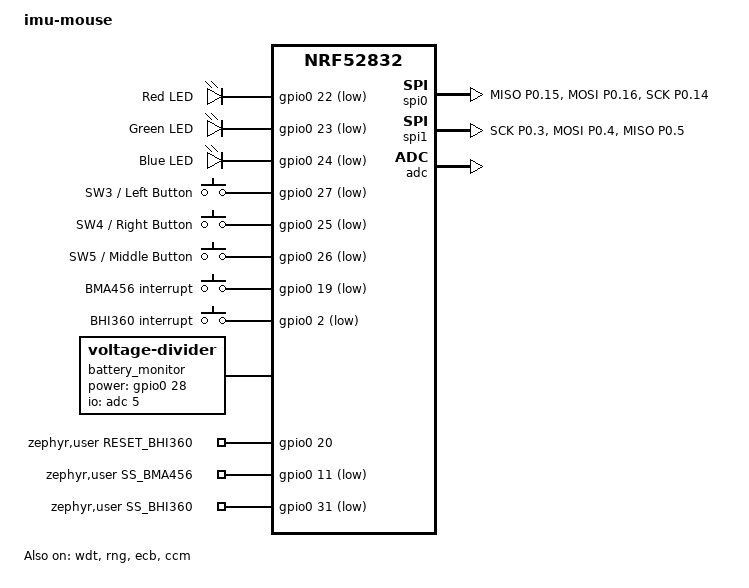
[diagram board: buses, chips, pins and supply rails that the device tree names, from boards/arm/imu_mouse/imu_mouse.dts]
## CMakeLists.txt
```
# SPDX-License-Identifier: Apache-2.0

cmake_minimum_required(VERSION 3.20.0)

find_package(Zephyr REQUIRED HINTS $ENV{ZEPHYR_BASE})
project(hello_world)

target_sources(app PRIVATE
  src/battery.c
  src/buttons.c
  src/bma456.c
  src/bma456_config.c
  src/bhi360.c
  src/bhi360_config.c
  src/mouse.c
)

target_include_directories(app PRIVATE
  $<BUILD_INTERFACE:${CMAKE_CURRENT_SOURCE_DIR}/src>
  $<BUILD_INTERFACE:${CMAKE_CURRENT_SOURCE_DIR}/src/sensor-apis>
)
```

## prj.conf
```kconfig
# Peripherals
CONFIG_GPIO=y
CONFIG_ADC=y
# CONFIG_FLASH=y
CONFIG_NRFX_SPIM0=y
CONFIG_NRFX_SPIM1=y

# BLE stuff
CONFIG_BT=y
CONFIG_BT_SMP=y
CONFIG_BT_DEBUG_LOG=y
CONFIG_BT_MAX_CONN=2
CONFIG_BT_MAX_PAIRED=2
CONFIG_BT_L2CAP_TX_BUF_COUNT=5
CONFIG_BT_PERIPHERAL=y
CONFIG_BT_DEVICE_NAME="imu-mouse"
CONFIG_BT_DEVICE_APPEARANCE=962

CONFIG_BT_BAS=y
CONFIG_BT_HIDS=y
CONFIG_BT_HIDS_MAX_CLIENT_COUNT=2
CONFIG_BT_GATT_UUID16_POOL_SIZE=40
CONFIG_BT_GATT_CHRC_POOL_SIZE=20

CONFIG_BT_CONN_CTX=y

CONFIG_BT_DIS=y
CONFIG_BT_DIS_PNP=y
CONFIG_BT_DIS_MANUF="NordicSemiconductor"
CONFIG_BT_DIS_PNP_VID_SRC=2
CONFIG_BT_DIS_PNP_VID=0x1915
CONFIG_BT_DIS_PNP_PID=0xEEEE
CONFIG_BT_DIS_PNP_VER=0x0100

CONFIG_BT_KEYS_OVERWRITE_OLDEST=y
CONFIG_BT_SMP_ALLOW_UNAUTH_OVERWRITE=y

CONFIG_BT_HIDS_SECURITY_ENABLED=n
#CONFIG_BT_DIRECTED_ADVERTISING=y

# Debug options
CONFIG_DEBUG_OPTIMIZATIONS=y
CONFIG_USE_SEGGER_RTT=y
CONFIG_CONSOLE=y
CONFIG_RTT_CONSOLE=y
CONFIG_REQUIRES_FLOAT_PRINTF=y
CONFIG_ASSERT=y
CONFIG_RESET_ON_FATAL_ERROR=n
CONFIG_CORTEX_M_DEBUG_MONITOR_HOOK=y
CONFIG_SEGGER_DEBUGMON=y
CONFIG_THREAD_ANALYZER=y

# This helps to be able to see all logs produced in init functions
# if immediate mode is not used
CONFIG_LOG_BUFFER_SIZE=4096

CONFIG_DEBUG_THREAD_INFO=y
CONFIG_LOG_MODE_IMMEDIATE=y
# Persistent settings (BLE bonds, etc.)
# CONFIG_MPU_ALLOW_FLASH_WRITE=y
# CONFIG_NVS=y
# CONFIG_SETTINGS=y
# CONFIG_SETTINGS_NVS=y
# CONFIG_SETTINGS_RUNTIME=n
# CONFIG_BT_SETTINGS=y
# CONFIG_FLASH_PAGE_LAYOUT=y
# CONFIG_FLASH_MAP=y
```

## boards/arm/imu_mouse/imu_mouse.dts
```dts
// Copyright (c) 2024 Nordic Semiconductor ASA
// SPDX-License-Identifier: Apache-2.0

/dts-v1/;
#include <nordic/nrf52832_ciaa.dtsi>

#include <zephyr/dt-bindings/input/input-event-codes.h>

// ANNA-B112 module, GPIO pin numbers on p.19-20 of datasheet

/ {
	model = "imu-mouse";
	compatible = "lassiheikkila,imu-mouse";

	chosen {
		zephyr,sram = &sram0;
		zephyr,flash = &flash0;
		zephyr,code-partition = &slot0_partition;
	};

	leds {
		compatible = "gpio-leds";

		// RED, GPIO36 i.e. p0.22
		led_r: led_r {
			gpios = <&gpio0 22 GPIO_ACTIVE_LOW>;
			label = "Red LED";
		};

		// GREEN, GPIO37 i.e. p0.23
		led_g: led_g {
			gpios = <&gpio0 23 GPIO_ACTIVE_LOW>;
			label = "Green LED";
		};

		// BLUE, GPIO38 i.e. p0.24
		led_b: led_b {
			gpios = <&gpio0 24 GPIO_ACTIVE_LOW>;
			label = "Blue LED";
		};
	};

	buttons {
		compatible = "gpio-keys";

		// SW3, GPIO29 i.e. p0.27
		button1: button1 {
			gpios = <&gpio0 27 GPIO_ACTIVE_LOW>;
			zephyr,code = <INPUT_BTN_0>;
			label = "SW3 / Left Button";
		};

		// SW4, GPIO30 i.e. p0.25
		button2: button2 {
			gpios = <&gpio0 25 GPIO_ACTIVE_LOW>;
			zephyr,code = <INPUT_BTN_1>;
			label = "SW4 / Right Button";
		};

		// SW5, GPIO31 i.e. p0.26
		button3: button3 {
			gpios = <&gpio0 26 GPIO_ACTIVE_LOW>;
			zephyr,code = <INPUT_BTN_2>;
			label = "SW5 / Middle Button";
		};

		int_bma456: int_bma456 {
			gpios = <&gpio0 19 GPIO_ACTIVE_LOW>;
			label = "BMA456 interrupt";
		};

		int_bhi360: int_bhi360 {
			gpios = <&gpio0 2 GPIO_ACTIVE_LOW>;
			label = "BHI360 interrupt";
		};
	};


	battery_monitor: vbatt {
		compatible = "voltage-divider";
		io-channels = <&adc 5>;
		output-ohms = <220000>; // 220k
		full-ohms = <1720000>; // 1.5M + 220k = 1.72M
		power-gpios = <&gpio0 28 0>;
	};

	zephyr,user {
		// INT_BMA456-gpios = <&gpio0 19 GPIO_ACTIVE_LOW>;
		// INT_BHI360-gpios = <&gpio0 2 0>;
		RESET_BHI360-gpios = <&gpio0 20 0>;
		SS_BMA456-gpios = <&gpio0 11 GPIO_ACTIVE_LOW>;
		SS_BHI360-gpios = <&gpio0 31 GPIO_ACTIVE_LOW>;
	};

	aliases {
		ledr = &led_r;
		ledg = &led_g;
		ledb = &led_b;
		button1 = &button1;
		button2 = &button2;
		button3 = &button3;
		sw3 = &button1;
		sw4 = &button2;
		sw5 = &button3;
		intbma456 = &int_bma456;
		intbhi360 = &int_bhi360;
	};
};

&gpiote {
	status = "okay";
};

&gpio0 {
	status = "okay";
};

&pinctrl {


	spi0_default: spi0_default {
		group1 {
			psels = <NRF_PSEL(SPIM_MISO, 0, 15)>,
				<NRF_PSEL(SPIM_MOSI, 0, 16)>,
				<NRF_PSEL(SPIM_SCK, 0, 14)>;
		};
	};

	spi1_default: spi1_default {
		group1 {
			psels = <NRF_PSEL(SPIM_SCK, 0, 3)>,
				<NRF_PSEL(SPIM_MOSI, 0, 4)>,
				<NRF_PSEL(SPIM_MISO, 0, 5)>;
		};
	};
};

&flash0 {
	status = "okay";
	partitions {
		compatible = "fixed-partitions";
		#address-cells = <1>;
		#size-cells = <1>;

		boot_partition: partition@0 {
			label = "mcuboot";
			reg = <0x0 0xc000>;
		};
		slot0_partition: partition@c000 {
			label = "image-0";
			reg = <0xc000 0x12000>;
		};
		slot1_partition: partition@1e000 {
			label = "image-1";
			reg = <0x1e000 0x12000>;
		};
		scratch_partition: partition@30000 {
			label = "image-scratch";
			reg = <0x30000 0xa000>;
		};
		storage_partition: partition@3a000 {
			label = "storage";
			reg = <0x3a000 0x6000>;
		};
	};
};

spi0: &spi0 {
	status = "okay";
	pinctrl-0 = <&spi0_default>;
	pinctrl-names = "default";
	compatible = "nordic,nrf-spim";
	max-frequency = <DT_FREQ_M(8)>;
};

spi1: &spi1 {
	status = "okay";
	pinctrl-0 = <&spi1_default>;
	pinctrl-names = "default";
	compatible = "nordic,nrf-spim";
};

&adc {
	status = "okay";
};

&wdt {
	status = "okay";
};

&rng {
	status = "okay";
};

&ecb {
	status = "okay";
};

&ccm {
	status = "okay";
};

&bprot {
	status = "disabled";
};

&nfct {
	status = "disabled";
};
```

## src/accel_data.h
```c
#ifndef APPLICATION_ACCEL_DATA_H_
#define APPLICATION_ACCEL_DATA_H_

struct accel_data
{
    float x;
    float y;
    float z;
    uint32_t ts;
};

#endif // APPLICATION_ACCEL_DATA_H_
```

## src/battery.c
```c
/*
 * Copyright (c) 2018-2019 Peter Bigot Consulting, LLC
 * Copyright (c) 2019-2020 Nordic Semiconductor ASA
 *
 * SPDX-License-Identifier: Apache-2.0
 */

// Extended by Lassi Heikkilä

#include <math.h>
#include <stdio.h>
#include <stdlib.h>

#include <zephyr/drivers/adc.h>
#include <zephyr/drivers/gpio.h>
#include <zephyr/init.h>
#include <zephyr/kernel.h>
#include <zephyr/logging/log.h>

#include <nrf52.h>
#include <nrf52_bitfields.h>

#include "battery.h"

LOG_MODULE_REGISTER(battery);

#define VBATT DT_PATH(vbatt)
#define ZEPHYR_USER DT_PATH(zephyr_user)

#define BATTERY_ADC_GAIN ADC_GAIN_1_6

struct io_channel_config
{
    uint8_t channel;
};

struct divider_config
{
    struct io_channel_config io_channel;
    struct gpio_dt_spec power_gpios;
    /* output_ohm is used as a flag value: if it is nonzero then
     * the battery is measured through a voltage divider;
     * otherwise it is assumed to be directly connected to Vdd.
     */
    uint32_t output_ohm;
    uint32_t full_ohm;
};

static const struct divider_config divider_config = {
#if DT_NODE_HAS_STATUS(VBATT, okay)
    .io_channel =
        {
            DT_IO_CHANNELS_INPUT(VBATT),
        },
    .power_gpios = GPIO_DT_SPEC_GET_OR(VBATT, power_gpios, {}),
    .output_ohm = DT_PROP(VBATT, output_ohms),
    .full_ohm = DT_PROP(VBATT, full_ohms),
#else  /* /vbatt exists */
    .io_channel =
        {
            DT_IO_CHANNELS_INPUT(ZEPHYR_USER),
        },
#endif /* /vbatt exists */
};

struct divider_data
{
    const struct device *adc;
    struct adc_channel_cfg adc_cfg;
    struct adc_sequence adc_seq;
    int16_t raw;
};
static struct divider_data divider_data = {
#if DT_NODE_HAS_STATUS(VBATT, okay)
    .adc = DEVICE_DT_GET(DT_IO_CHANNELS_CTLR(VBATT)),
#else
    .adc = DEVICE_DT_GET(DT_IO_CHANNELS_CTLR(ZEPHYR_USER)),
#endif
};

/** A discharge curve specific to the power source. */
static const struct battery_level_point levels[] = {
    /* "Curve" here eyeballed from captured data for the [Adafruit
     * 3.7v 2000 mAh](https://www.adafruit.com/product/2011) LIPO
     * under full load that started with a charge of 3.96 V and
     * dropped about linearly to 3.58 V over 15 hours.  It then
     * dropped rapidly to 3.10 V over one hour, at which point it
     * stopped transmitting.
     *
     * Based on eyeball comparisons we'll say that 15/16 of life
     * goes between 3.95 and 3.55 V, and 1/16 goes between 3.55 V
     * and 3.1 V.
     */

    {10000, 3950},
    {625, 3550},
    {0, 3100},
};

static uint8_t battery_level = 0;

static int divider_setup(void) {
    const struct divider_config *cfg = &divider_config;
    const struct io_channel_config *iocp = &cfg->io_channel;
    const struct gpio_dt_spec *gcp = &cfg->power_gpios;
    struct divider_data *ddp = &divider_data;
    struct adc_sequence *asp = &ddp->adc_seq;
    struct adc_channel_cfg *accp = &ddp->adc_cfg;
    int rc;

    if (!device_is_ready(ddp->adc)) {
        return -ENOENT;
    }

    if (gcp->port) {
        if (!device_is_ready(gcp->port)) {
            return -ENOENT;
        }
        rc = gpio_pin_configure_dt(gcp, GPIO_OUTPUT_INACTIVE);
        if (rc != 0) {
            return rc;
        }
    }

    *asp = (struct adc_sequence){
        .channels = BIT(0),
        .buffer = &ddp->raw,
        .buffer_size = sizeof(ddp->raw),
        .oversampling = 4,
        .calibrate = true,
    };

#ifdef CONFIG_ADC_NRFX_SAADC
    *accp = (struct adc_channel_cfg){
        .gain = BATTERY_ADC_GAIN,
        .reference = ADC_REF_INTERNAL,
        .acquisition_time = ADC_ACQ_TIME(ADC_ACQ_TIME_MICROSECONDS, 40),
    };

    if (cfg->output_ohm != 0) {
        accp->input_positive =
            SAADC_CH_PSELP_PSELP_AnalogInput0 + iocp->channel;
    } else {
        accp->input_positive = SAADC_CH_PSELP_PSELP_VDD;
    }

    asp->resolution = 14;
#else /* CONFIG_ADC_var */
#error Unsupported ADC
#endif /* CONFIG_ADC_var */

    rc = adc_channel_setup(ddp->adc, accp);

    return rc;
}

static bool battery_ok;

static int battery_setup(void) {
    int rc = divider_setup();

    battery_ok = (rc == 0);
    return rc;
}

SYS_INIT(battery_setup, APPLICATION, CONFIG_APPLICATION_INIT_PRIORITY);

int battery_measure_enable(bool enable) {
    int rc = -ENOENT;

    if (battery_ok) {
        const struct gpio_dt_spec *gcp = &divider_config.power_gpios;

        rc = 0;
        if (gcp->port) {
            rc = gpio_pin_set_dt(gcp, enable);
        }
    }
    return rc;
}

int battery_sample(void) {
    int rc = -ENOENT;

    if (battery_ok) {
        struct divider_data *ddp = &divider_data;
        const struct divider_config *dcp = &divider_config;
        struct adc_sequence *sp = &ddp->adc_seq;

        rc = adc_read(ddp->adc, sp);
        sp->calibrate = false;
        if (rc == 0) {
            int32_t val = ddp->raw;

            adc_raw_to_millivolts(adc_ref_internal(ddp->adc), ddp->adc_cfg.gain,
                                  sp->resolution, &val);

            if (dcp->output_ohm != 0) {
                rc = val * (uint64_t)dcp->full_ohm / dcp->output_ohm;
            } else {
                rc = val;
            }
        }
    }

    return rc;
}

unsigned int battery_level_pct(unsigned int batt_mV,
                               const struct battery_level_point *curve) {
    const struct battery_level_point *pb = curve;

    if (batt_mV >= pb->lvl_mV) {
        /* Measured voltage above highest point, cap at maximum. */
        return pb->lvl_pptt;
    }
    /* Go down to the last point at or below the measured voltage. */
    while ((pb->lvl_pptt > 0) && (batt_mV < pb->lvl_mV)) {
        ++pb;
    }
    if (batt_mV < pb->lvl_mV) {
        /* Below lowest point, cap at minimum */
        return pb->lvl_pptt;
    }

    /* Linear interpolation between below and above points. */
    const struct battery_level_point *pa = pb - 1;

    return pb->lvl_pptt + ((pa->lvl_pptt - pb->lvl_pptt) *
                           (batt_mV - pb->lvl_mV) / (pa->lvl_mV - pb->lvl_mV));
}

uint8_t battery_percentage(void) { return battery_level; }

#if BATTERY_ENABLE_TASK == 1

void battery_loop(void *, void *, void *) {
    while (1) {
        battery_measure_enable(true);
        k_msleep(5000);

        volatile int battMV = battery_sample();
        volatile float battPct =
            ((float)battery_level_pct(battMV, levels)) / 100.0f;
        LOG_INF("battery voltage: %d mV, remaining charge: %f%%", battMV,
                battPct);

        battery_level = (uint8_t)(battPct);

        battery_measure_enable(false);
        k_msleep(MS_BETWEEN_BATTERY_READINGS);
    }
}

K_THREAD_DEFINE(battery_thread_id, 1024, battery_loop, NULL, NULL, NULL, 7,
                K_USER, 0);

#endif // BATTERY_ENABLE_TASK == 1
```

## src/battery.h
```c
/*
 * Copyright (c) 2018-2019 Peter Bigot Consulting, LLC
 *
 * SPDX-License-Identifier: Apache-2.0
 */

// Extended by Lassi Heikkilä

#ifndef APPLICATION_BATTERY_H_
#define APPLICATION_BATTERY_H_

// Defines

// Measure battery level every 10 minutes
#define MS_BETWEEN_BATTERY_READINGS (10 * 60 * 1000)

#define BATTERY_ENABLE_TASK 1

/** Enable or disable measurement of the battery voltage.
 *
 * @param enable true to enable, false to disable
 *
 * @return zero on success, or a negative error code.
 */
int battery_measure_enable(bool enable);

/** Measure the battery voltage.
 *
 * @return the battery voltage in millivolts, or a negative error
 * code.
 */
int battery_sample(void);

/** Return latest battery percentage value
 *
 * @return the latest estimated battery percentage
 */
uint8_t battery_percentage(void);

/** A point in a battery discharge curve sequence.
 *
 * A discharge curve is defined as a sequence of these points, where
 * the first point has #lvl_pptt set to 10000 and the last point has
 * #lvl_pptt set to zero.  Both #lvl_pptt and #lvl_mV should be
 * monotonic decreasing within the sequence.
 */
struct battery_level_point
{
    /** Remaining life at #lvl_mV. */
    uint16_t lvl_pptt;

    /** Battery voltage at #lvl_pptt remaining life. */
    uint16_t lvl_mV;
};

/** Calculate the estimated battery level based on a measured voltage.
 *
 * @param batt_mV a measured battery voltage level.
 *
 * @param curve the discharge curve for the type of battery installed
 * on the system.
 *
 * @return the estimated remaining capacity in parts per ten
 * thousand.
 */
unsigned int battery_level_pct(unsigned int batt_mV,
                               const struct battery_level_point *curve);

#endif /* APPLICATION_BATTERY_H_ */
```

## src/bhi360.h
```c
#ifndef APPLICATION_BHI360_H_
#define APPLICATION_BHI360_H_

#include <stdbool.h>
#include <stdint.h>

#define BHI360_SPIM_INSTANCE 1
#define BHI360_SS_PIN 31
#define BHI360_SCK_PIN 3
#define BHI360_MOSI_PIN 4
#define BHI360_MISO_PIN 5

// this just so happens to be divisible by four, so no extra padding is needed
#define BHI360_CONFIG_FILE_SIZE_BYTES 127228
#define BHI360_FIFO_READ_BUFFER_LENGTH 512

#define BHI3_SPI_RD_MASK 0x80 // addr | BHI3_SPI_RD_MASK
#define BHI3_SPI_WR_MASK 0x7F // addr & BHI3_SPI_WR_MASK

#define ROUND_TO_NEAREST_4_UP(x) (((x + 3) >> 2) << 2)
#define ROUND_TO_NEAREST_4_DOWN(x) (((x) >> 2) << 2)

#define BHI360_ENABLE_POLL_TASK 0

typedef struct
{
    uint16_t id;   // command id
    uint16_t len;  // payload length in bytes. must be multiple of 4.
    void *payload; // pointer to payload. can be null.
} bhi360_command_t;

typedef struct
{
    uint16_t status;      // status code
    uint16_t len;         // length of payload
    void *payload;        // pointer to payload buffer. can be null.
    uint16_t payload_cap; // capacity of payload buffer
} bhi360_response_t;

/* Init function for setting up MCU side of things and configuring sensor */
int initialize_bhi360(void);

/* SPI writes and reads */

int bhi360_reg_read_byte(uint8_t reg, uint8_t *data);
int bhi360_reg_read_u16(uint8_t reg, uint16_t *data);
int bhi360_reg_read_burst(uint8_t reg, uint8_t *data, uint16_t len);

int bhi360_reg_write_byte(uint8_t reg, uint8_t val);
int bhi360_reg_write_burst(uint8_t reg, const uint8_t *buf, uint16_t len);

int bhi360_write_command(const bhi360_command_t *cmd);

int bhi360_read_response(bhi360_response_t *rsp);

/* Reset methods */

void bhi360_soft_reset(void);

void bhi360_hard_reset(void);

/* Getters */

int bhi360_get_host_status(void);

int bhi360_get_fuser2_id(void);

int bhi360_get_fuser2_rev(void);

int bhi360_get_rom_version(void);

int bhi360_get_kernel_version(void);

int bhi360_get_user_version(void);

int bhi360_get_feature_status(void);

int bhi360_get_boot_status(void);

int bhi360_get_chip_id(void);

int bhi360_get_interrupt_status(void);

int bhi360_get_error_value(void);

int bhi360_get_interrupt_control(void);

void bhi360_read_parameter(uint16_t id);

/* FIFO handling */

void bhi360_read_wakeup_fifo(void);

void bhi360_read_nonwakeup_fifo(void);

void bhi360_read_status_debug_fifo(void);

/* Setters */

void bhi360_set_chip_control(bool turbo, bool clear_errors);

/* More elaborate sensor config functions */

void bhi360_write_parameter(uint16_t id, uint16_t len, uint8_t *data);

int bhi360_write_config_file(void);

void bhi360_configure_interrupts(void);

// Game Rotation Vector is orientation vector calculated from six axis of data:
// - 3 accelerometer axis (x, y, z)
// - 3 gyroscope axis (x, y, z)
void bhi360_configure_game_rotation(void);

// Rotation Vector is orientation vector calculated from nine axis of data:
// - 3 accelerometer axis (x, y, z)
// - 3 gyroscope axis (x, y, z)
// - 3 magnetometer axis (x, y, z)
void bhi360_configure_rotation(void);

void bhi360_dump_rotation_config(void);

#if BHI360_ENABLE_POLL_TASK == 1
void bhi360_poll_task(void *, void *, void *);
#endif // BHI360_ENABLE_POLL_TASK == 1

#endif // APPLICATION_BHI360_H_
```

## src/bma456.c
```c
#include "bma456.h"

#include "bma456_an.h"
#include "bma4_defs.h"

#include <stdbool.h>
#include <stddef.h>
#include <stdint.h>
#include <string.h>

#include <nrfx_spim.h>

#include <zephyr/drivers/gpio.h>
#include <zephyr/kernel.h>
#include <zephyr/logging/log.h>

LOG_MODULE_REGISTER(bma456);

nrfx_spim_t *bma456_spim = NULL;
static struct k_fifo bma456_fifo;

volatile bool bma456_ready = false;

struct fifo_interrupt_data
{
    void *fifo_reserved;
    uint32_t interrupt;
};

static struct fifo_interrupt_data tx_data;

static const struct gpio_dt_spec bma456_ss =
    GPIO_DT_SPEC_GET(DT_PATH(zephyr_user), ss_bma456_gpios);
static const struct gpio_dt_spec bma456_int =
    GPIO_DT_SPEC_GET(DT_ALIAS(intbma456), gpios);
static struct gpio_callback bma456_int_cb_data;

extern const uint8_t bma456_an_config_file[];

void __attribute__((used)) bma456_isr(const struct device *dev,
                                      struct gpio_callback *cb,
                                      gpio_port_pins_t pins) {
    LOG_DBG("BMA456 interrupt");
    tx_data.interrupt = 1;
    k_fifo_put(&bma456_fifo, &tx_data);
}

int initialize_bma456(void) {
    k_fifo_init(&bma456_fifo);

    nrfx_err_t status;
    (void)status;

    // set up SPI interface

    // check and set up pins:
    // - slave select
    // - interrupt
    if (!gpio_is_ready_dt(&bma456_ss)) {
        LOG_ERR("BMA456 SS pin not usable!");
        return -1;
    }
    (void)gpio_pin_configure_dt(&bma456_ss, (GPIO_OUTPUT | GPIO_ACTIVE_LOW));

    if (!gpio_is_ready_dt(&bma456_int)) {
        LOG_ERR("BMA456 INT pin not usable!");
        return -1;
    }
    (void)gpio_pin_configure_dt(&bma456_int, (GPIO_INPUT | GPIO_ACTIVE_LOW));
    (void)gpio_pin_interrupt_configure_dt(&bma456_int, GPIO_INT_EDGE_TO_ACTIVE);
    gpio_init_callback(&bma456_int_cb_data, bma456_isr, BIT(bma456_int.pin));
    (void)gpio_add_callback_dt(&bma456_int, &bma456_int_cb_data);

#if defined(__ZEPHYR__)
    IRQ_CONNECT(NRFX_IRQ_NUMBER_GET(NRF_SPIM_INST_GET(BMA456_SPIM_INSTANCE)),
                IRQ_PRIO_LOWEST,
                NRFX_SPIM_INST_HANDLER_GET(BMA456_SPIM_INSTANCE), 0, 0);
#endif // defined(__ZEPHYR__)

    static nrfx_spim_t spim_inst = NRFX_SPIM_INSTANCE(BMA456_SPIM_INSTANCE);
    bma456_spim = &spim_inst;

    nrfx_spim_config_t spim_config =
        NRFX_SPIM_DEFAULT_CONFIG(BMA456_SCK_PIN, BMA456_MOSI_PIN,
                                 BMA456_MISO_PIN, NRF_SPIM_PIN_NOT_CONNECTED);
    spim_config.frequency = NRFX_MHZ_TO_HZ(2);
    // spim_config.skip_gpio_cfg = true;

    status = nrfx_spim_init(&spim_inst, &spim_config, NULL, NULL);
    if (status != NRFX_SUCCESS) {
        return -1;
    }

    int chip_id = 0;

    for (int remaining = 3; remaining > 0; remaining--) {
        chip_id = bma456_get_chip_id();
        if (chip_id == BMA456_AN_CHIP_ID_PRIM) {
            break;
        }
        k_busy_wait(5 * USEC_PER_MSEC);
    }

    if (chip_id != BMA456_AN_CHIP_ID_PRIM) {
        return -1;
    }

    // reset the device
    bma456_soft_reset();
    k_busy_wait(10 * USEC_PER_MSEC);
    for (int remaining = 3; remaining > 0; remaining--) {
        chip_id = bma456_get_chip_id();
        if (chip_id == BMA456_AN_CHIP_ID_PRIM) {
            break;
        }
        k_busy_wait(5 * USEC_PER_MSEC);
    }

    if (chip_id != BMA456_AN_CHIP_ID_PRIM) {
        return -1;
    }

    // upload config/FW
    bma456_write_config_file();

    int bma456_status = 0;
    for (int remaining = 3; remaining > 0; remaining--) {
        // check internal status of sensor for errors
        bma456_status = bma456_get_internal_status();
        if (bma456_status == BMA4_ASIC_INITIALIZED) {
            break;
        }
        k_busy_wait(100);
    }

    if (bma456_status != BMA4_ASIC_INITIALIZED) {
        uint8_t err_reg = 0;
        uint8_t status_reg = 0;
        bma456_reg_read_byte(BMA4_ERROR_ADDR, &err_reg);
        bma456_reg_read_byte(BMA4_STATUS_ADDR, &status_reg);
        LOG_INF("bma456 internal status: 0x%x", bma456_status);
        LOG_INF("bma456 error register: 0x%x", err_reg);
        LOG_INF("bma456 status register: 0x%x", status_reg);
        return -1;
    }

    // configure sensor for anymotion/nomotion interrupts
    bma456_set_int1_config();

    // enable accel
    bma456_set_accel_enable(true);
    k_busy_wait(25 * USEC_PER_MSEC);
    bma456_set_accel_conf();
    k_busy_wait(25 * USEC_PER_MSEC);
    bma456_map_feature_interrupts(
        BMA4_INTR1_MAP,
        (BMA456_AN_ERROR_INT | BMA456_AN_NO_MOT_INT | BMA456_AN_ANY_MOT_INT));
    k_busy_wait(25 * USEC_PER_MSEC);
    // bma456_map_hw_interrupts();
    // k_busy_wait(25 * USEC_PER_MSEC);
    bma456_configure_anymotion_nomotion();
    k_busy_wait(25 * USEC_PER_MSEC);
    bma456_set_power_conf(true);
    k_busy_wait(25 * USEC_PER_MSEC);

    bma456_status = bma456_get_internal_status();

    bma456_ready = true;

    return 0;
}

static void bma456_ss_set(bool enable) {
    if (enable) {
        gpio_pin_set_dt(&bma456_ss, 1);
        k_busy_wait(1 * USEC_PER_MSEC);
    } else {
        k_busy_wait(1 * USEC_PER_MSEC);
        gpio_pin_set_dt(&bma456_ss, 0);
    }
}

int bma456_reg_read_byte(uint8_t reg, uint8_t *data) {
    __ASSERT(bma456_spim != NULL, "SPIM is NULL");
    __ASSERT(bma456_spim->p_reg != NULL, "SPIM->p_reg is NULL");
    nrfx_err_t status;
    nrfx_spim_xfer_desc_t xfer_desc;
    uint8_t buf[2];

    // set high bit to 1 to indicate read
    reg |= BMA4_SPI_RD_MASK;

    bma456_ss_set(true);

    xfer_desc = (nrfx_spim_xfer_desc_t){.p_tx_buffer = &reg,
                                        .tx_length = 1,
                                        .p_rx_buffer = NULL,
                                        .rx_length = 0};

    status = nrfx_spim_xfer(bma456_spim, &xfer_desc, 0);
    if (status != NRFX_SUCCESS) {
        return -1;
    }

    xfer_desc = (nrfx_spim_xfer_desc_t){.p_tx_buffer = NULL,
                                        .tx_length = 0,
                                        .p_rx_buffer = buf,
                                        .rx_length = 2};

    status = nrfx_spim_xfer(bma456_spim, &xfer_desc, 0);
    if (status != NRFX_SUCCESS) {
        return -1;
    }

    bma456_ss_set(false);

    *data = buf[1];

    return 0;
}

int bma456_reg_read_burst(uint8_t reg, uint8_t *buf, uint16_t len) {
    __ASSERT(bma456_spim != NULL, "SPIM is NULL");
    __ASSERT(bma456_spim->p_reg != NULL, "SPIM->p_reg is NULL");
    nrfx_err_t status;
    nrfx_spim_xfer_desc_t xfer_desc;

    // set high bit to 1 to indicate read
    reg |= BMA4_SPI_RD_MASK;

    bma456_ss_set(true);

    xfer_desc = (nrfx_spim_xfer_desc_t){.p_tx_buffer = &reg,
                                        .tx_length = 1,
                                        .p_rx_buffer = NULL,
                                        .rx_length = 0};

    status = nrfx_spim_xfer(bma456_spim, &xfer_desc, 0);
    if (status != NRFX_SUCCESS) {
        return -1;
    }

    uint8_t dummy = 0;
    xfer_desc = (nrfx_spim_xfer_desc_t){.p_tx_buffer = NULL,
                                        .tx_length = 0,
                                        .p_rx_buffer = &dummy,
                                        .rx_length = 1};

    status = nrfx_spim_xfer(bma456_spim, &xfer_desc, 0);
    if (status != NRFX_SUCCESS) {
        return -1;
    }

    xfer_desc = (nrfx_spim_xfer_desc_t){.p_tx_buffer = NULL,
                                        .tx_length = 0,
                                        .p_rx_buffer = buf,
                                        .rx_length = len};

    status = nrfx_spim_xfer(bma456_spim, &xfer_desc, 0);
    if (status != NRFX_SUCCESS) {
        return -1;
    }

    bma456_ss_set(false);

    return 0;
}

int bma456_reg_write_byte(uint8_t reg, uint8_t val) {
    __ASSERT(bma456_spim != NULL, "SPIM is NULL");
    __ASSERT(bma456_spim->p_reg != NULL, "SPIM->p_reg is NULL");
    nrfx_err_t status;
    nrfx_spim_xfer_desc_t xfer_desc;

    // clear high bit to indicate write
    reg &= BMA4_SPI_WR_MASK;

    bma456_ss_set(true);

    xfer_desc = (nrfx_spim_xfer_desc_t){.p_tx_buffer = &reg,
                                        .tx_length = 1,
                                        .p_rx_buffer = NULL,
                                        .rx_length = 0};

    status = nrfx_spim_xfer(bma456_spim, &xfer_desc, 0);
    if (status != NRFX_SUCCESS) {
        return -1;
    }

    xfer_desc = (nrfx_spim_xfer_desc_t){.p_tx_buffer = &val,
                                        .tx_length = 1,
                                        .p_rx_buffer = NULL,
                                        .rx_length = 0};
    status = nrfx_spim_xfer(bma456_spim, &xfer_desc, 0);
    if (status != NRFX_SUCCESS) {
        return -1;
    }

    bma456_ss_set(false);

    return 0;
}

int bma456_reg_write_burst(uint8_t reg, const uint8_t *buf, uint16_t len) {
    __ASSERT(bma456_spim != NULL, "SPIM is NULL");
    __ASSERT(bma456_spim->p_reg != NULL, "SPIM->p_reg is NULL");
    nrfx_err_t status;
    nrfx_spim_xfer_desc_t xfer_desc;

    // clear high bit to indicate write
    reg &= BMA4_SPI_WR_MASK;

    bma456_ss_set(true);

    xfer_desc = (nrfx_spim_xfer_desc_t){.p_tx_buffer = &reg,
                                        .tx_length = 1,
                                        .p_rx_buffer = NULL,
                                        .rx_length = 0};

    status = nrfx_spim_xfer(bma456_spim, &xfer_desc, 0);
    if (status != NRFX_SUCCESS) {
        return -1;
    }

    xfer_desc = (nrfx_spim_xfer_desc_t){.p_tx_buffer = buf,
                                        .tx_length = len,
                                        .p_rx_buffer = NULL,
                                        .rx_length = 0};
    status = nrfx_spim_xfer(bma456_spim, &xfer_desc, 0);
    if (status != NRFX_SUCCESS) {
        return -1;
    }

    // uint32_t txd_amount = bma456_spim->p_reg->TXD.AMOUNT &
    // SPIM_TXD_AMOUNT_AMOUNT_Msk; maybe assert that len == txd_amount?

    bma456_ss_set(false);

    return 0;
}

int bma456_get_chip_id(void) {
    uint8_t data = 0;

    bma456_reg_read_byte(BMA4_CHIP_ID_ADDR, &data);

    return (int)data;
}

int bma456_get_int0_status(void) {
    uint8_t data = 0;

    bma456_reg_read_byte(BMA4_INT_STAT_0_ADDR, &data);

    return (int)data;
}

int bma456_get_int1_status(void) {
    uint8_t data = 0;

    bma456_reg_read_byte(BMA4_INT_STAT_1_ADDR, &data);

    return (int)data;
}

int bma456_get_internal_status(void) {
    uint8_t data = 0;

    bma456_reg_read_byte(BMA4_INTERNAL_STAT, &data);

    return (int)data;
}

int bma456_get_acc_conf(void) {
    uint8_t data = 0;

    bma456_reg_read_byte(BMA4_ACCEL_CONFIG_ADDR, &data);

    return (int)data;
}

int bma456_get_sensortime(void) {
    uint32_t data = 0;

    bma456_reg_read_burst(BMA4_SENSORTIME_0_ADDR, (uint8_t *)&data, 4);

    return (data & 0x00FFFFFF);
}

int bma456_get_temperature(void) {
    int8_t data = 0;
    bma456_reg_read_byte(BMA4_TEMPERATURE_ADDR, (uint8_t *)&data);

    if (data == 0x80) {
        // invalid
        return (int)data;
    }
    return (int)data + 23;
}

void bma456_write_config_file(void) {
    int status = 0;
    bma456_set_power_conf(false);

    k_busy_wait(1 * USEC_PER_MSEC);

    status = bma456_reg_write_byte(BMA4_INIT_CTRL_ADDR, 0x0);
    if (status != 0) {
        LOG_ERR("error setting init ctrl conf to 0");
    }
    k_busy_wait(5);

    const uint16_t CONFIG_FILE_CHUNK_SIZE = 240;
    for (uint16_t idx = 0; idx < BMA456_CONFIG_FILE_SIZE_BYTES;
         idx += CONFIG_FILE_CHUNK_SIZE) {
        uint16_t word_idx = idx / 2;
        uint8_t idx_msb = word_idx >> 4;
        uint8_t idx_lsb = word_idx & 0x0F;

        // https://github.com/boschsensortec/BMA456_SensorAPI/blob/master/bma4.c#L3969
        // This seems to write a data word index when a config file write is
        // split up over many individual writes
        (void)bma456_reg_write_byte(BMA4_RESERVED_REG_5B_ADDR, idx_lsb);

        k_busy_wait(5);

        (void)bma456_reg_write_byte(BMA4_RESERVED_REG_5C_ADDR, idx_msb);

        k_busy_wait(5);

        status = bma456_reg_write_burst(BMA4_FEATURE_CONFIG_ADDR,
                                        (bma456_an_config_file + idx),
                                        CONFIG_FILE_CHUNK_SIZE);

        k_busy_wait(5);
    }
    if (status != 0) {
        LOG_ERR("error writing config file");
    }
    k_busy_wait(5);

    status = bma456_reg_write_byte(BMA4_INIT_CTRL_ADDR, 0x1);
    if (status != 0) {
        LOG_ERR("error setting init ctrl conf to 1");
    }

    k_busy_wait(150 * USEC_PER_MSEC);
}

void bma456_soft_reset(void) {
    uint8_t cmd = BMA4_SOFT_RESET;

    bma456_reg_write_byte(BMA4_CMD_ADDR, cmd);
}

void bma456_set_power_conf(bool adv_pwr_save) {
    uint8_t cfg = (0x2 | // fifo_self_wakeup on
                   (adv_pwr_save ? 0x1 : 0x0));

    bma456_reg_write_byte(BMA4_POWER_CONF_ADDR, cfg);
}

void bma456_set_int1_config(void) {
    uint8_t cfg =
        (BMA4_OUTPUT_ENABLE << 3 | BMA4_PUSH_PULL << 2 | BMA4_ACTIVE_LOW << 1);

    bma456_reg_write_byte(BMA4_INT1_IO_CTRL_ADDR, cfg);

    k_busy_wait(5);

    uint8_t latch = BMA4_LATCH_MODE;
    bma456_reg_write_byte(BMA4_INTR_LATCH_ADDR, latch);
}

void bma456_set_accel_enable(bool enable) {
    uint8_t cfg = ((enable ? 0x1 : 0x0) << BMA4_ACCEL_ENABLE_POS);

    bma456_reg_write_byte(BMA4_POWER_CTRL_ADDR, cfg);
}

void bma456_map_feature_interrupts(uint8_t int_line, uint8_t interrupts) {
    if (int_line == BMA4_INTR1_MAP) {
        bma456_reg_write_byte(BMA4_INT_MAP_1_ADDR, interrupts);
    } else if (int_line == BMA4_INTR2_MAP) {
        bma456_reg_write_byte(BMA4_INT_MAP_2_ADDR, interrupts);
    }
}

void bma456_map_hw_interrupts(void) {
    uint8_t cfg = 0x4; // int1_drdy

    bma456_reg_write_byte(BMA4_INT_MAP_DATA_ADDR, cfg);
}

void bma456_set_accel_conf(void) {
    uint8_t cfg = ((BMA4_CONTINUOUS_MODE << BMA4_ACCEL_PERFMODE_POS) |
                   (BMA4_ACCEL_NORMAL_AVG4 << BMA4_ACCEL_BW_POS) |
                   (BMA4_OUTPUT_DATA_RATE_50HZ));

    bma456_reg_write_byte(BMA4_ACCEL_CONFIG_ADDR, cfg);
}

inline float accel_raw_to_float(uint8_t lsb, uint8_t msb) {
    return (float)((int16_t)(((uint16_t)msb << 8) | (uint16_t)lsb)) / 8192.0f;
}

void bma456_get_accel_sample(struct accel_data *data) {
    uint8_t raw_accel[6];
    uint8_t raw_time[3];

    bma456_reg_read_burst(BMA4_DATA_8_ADDR, raw_accel, 6);
    bma456_reg_read_burst(BMA4_SENSORTIME_0_ADDR, raw_time, 3);

    // NOTE: default range is 4g and we have not changed it
    // 4g == 8192 LSB/g

    data->x = accel_raw_to_float(raw_accel[1], raw_accel[0]);
    data->y = accel_raw_to_float(raw_accel[3], raw_accel[2]);
    ;
    data->z = accel_raw_to_float(raw_accel[5], raw_accel[4]);
    ;

    data->ts =
        (uint32_t)(((uint32_t)(raw_time[0])) | ((uint32_t)(raw_time[1]) << 8) |
                   ((uint32_t)(raw_time[2]) << 16));
}

struct any_no_mo1
{
    uint16_t threshold : 10;
    uint16_t reserved : 6;
};

struct any_no_mo2
{
    uint16_t duration : 13;
    uint16_t x_en : 1;
    uint16_t y_en : 1;
    uint16_t z_en : 1;
};

struct any_no_motion_config
{
    struct any_no_mo1 conf_1;
    struct any_no_mo2 conf_2;
};

typedef union {
    uint16_t words[BMA456_AN_NO_MOT_RD_WR_LEN / 2];
    struct
    {
        struct any_no_motion_config any_motion_config;
        struct any_no_motion_config no_motion_config;
    } as_s;
} any_no_mot_config;

void bma456_configure_anymotion_nomotion(void) {
    // read existing config
    uint8_t raw_config[BMA456_AN_FEATURE_SIZE];
    bma456_reg_read_burst(BMA4_FEATURE_CONFIG_ADDR, raw_config,
                          BMA456_AN_NO_MOT_RD_WR_LEN);
    any_no_mot_config feature_config = {
        .words = {((uint16_t)raw_config[0] << 8) | (uint16_t)raw_config[1],
                  ((uint16_t)raw_config[2] << 8) | (uint16_t)raw_config[3],
                  ((uint16_t)raw_config[4] << 8) | (uint16_t)raw_config[5],
                  ((uint16_t)raw_config[6] << 8) | (uint16_t)raw_config[7]}};

    k_busy_wait(10);
    // modify config to match our needs

    // enable ANY_MOTION for each axis
    feature_config.as_s.any_motion_config.conf_1.threshold = 10;
    feature_config.as_s.any_motion_config.conf_2.duration = 4;
    feature_config.as_s.any_motion_config.conf_2.x_en = 1;
    feature_config.as_s.any_motion_config.conf_2.y_en = 1;
    feature_config.as_s.any_motion_config.conf_2.z_en = 1;

    // enable NO_MOTION for each axis
    feature_config.as_s.no_motion_config.conf_1.threshold = 10;
    feature_config.as_s.no_motion_config.conf_2.duration = 4;
    feature_config.as_s.no_motion_config.conf_2.x_en = 1;
    feature_config.as_s.no_motion_config.conf_2.y_en = 1;
    feature_config.as_s.no_motion_config.conf_2.z_en = 1;

    // serialize back into raw config
    raw_config[0] = (uint8_t)((feature_config.words[0] & 0xFF00) >> 8);
    raw_config[1] = (uint8_t)(feature_config.words[0] & 0x00FF);
    raw_config[2] = (uint8_t)((feature_config.words[1] & 0xFF00) >> 8);
    raw_config[3] = (uint8_t)(feature_config.words[1] & 0x00FF);
    raw_config[4] = (uint8_t)((feature_config.words[2] & 0xFF00) >> 8);
    raw_config[5] = (uint8_t)(feature_config.words[2] & 0x00FF);
    raw_config[6] = (uint8_t)((feature_config.words[3] & 0xFF00) >> 8);
    raw_config[7] = (uint8_t)(feature_config.words[3] & 0x00FF);

    bma456_reg_write_burst(BMA4_FEATURE_CONFIG_ADDR, raw_config,
                           BMA456_AN_NO_MOT_RD_WR_LEN);
}

SYS_INIT(initialize_bma456, APPLICATION, CONFIG_APPLICATION_INIT_PRIORITY);

#if BMA456_ENABLE_POLL_TASK == 1

K_THREAD_DEFINE(bma456_thread_id, 1024, bma456_task, NULL, NULL, NULL, 6,
                K_USER, 0);
K_THREAD_DEFINE(bma456_poll_thread_id, 1024, bma456_poll, NULL, NULL, NULL, 7,
                K_USER, 0);

void bma456_task(void *, void *, void *) {
    while (!bma456_ready) {
        k_msleep(10);
    }

    __ASSERT(bma456_spim != NULL, "SPIM is NULL");
    __ASSERT(bma456_spim->p_reg != NULL, "SPIM->p_reg is NULL");

    struct accel_data accel_sample;

    while (1) {
        struct fifo_interrupt_data *data = k_fifo_get(&bma456_fifo, K_FOREVER);
        if (!data->interrupt) {
            continue;
        }

        uint8_t int_status_0 = bma456_get_int0_status();
        uint8_t int_status_1 = bma456_get_int1_status();

        // LOG_INF("int status 0: 0x%x", data->int_status_0);
        // LOG_INF("int status 1: 0x%x", data->int_status_1);
        if (int_status_0 & BMA456_AN_ANY_MOT_INT) {
            LOG_INF("got any motion!");
        }
        if (int_status_0 & BMA456_AN_NO_MOT_INT) {
            LOG_INF("got no motion!");
        }
        if (int_status_0 & BMA456_AN_ERROR_INT) {
            LOG_INF("got error!");
        }

        if (int_status_1 & 0x80) {
            LOG_INF("got accel data ready!");

            bma456_get_accel_sample(&accel_sample);
            LOG_INF("acc: %f %f %f %d", accel_sample.x, accel_sample.y,
                    accel_sample.z, accel_sample.ts);
        }
    }
}

void bma456_poll(void *, void *, void *) {
    struct accel_data accel_sample;
    int bma456_status = 0;
    uint8_t err_reg = 0;
    uint8_t status_reg = 0;

    while (!bma456_ready) {
        k_msleep(1000);
    }

    __ASSERT(bma456_spim != NULL, "SPIM is NULL");
    __ASSERT(bma456_spim->p_reg != NULL, "SPIM->p_reg is NULL");

    while (1) {
        bma456_status = bma456_get_internal_status();
        bma456_reg_read_byte(BMA4_ERROR_ADDR, &err_reg);
        bma456_reg_read_byte(BMA4_STATUS_ADDR, &status_reg);
        bma456_get_accel_sample(&accel_sample);

        LOG_INF("bma456 internal status: 0x%x", bma456_status);
        LOG_INF("bma456 error status: 0x%x", err_reg);
        LOG_INF("bma456 status: 0x%x", status_reg);
        LOG_INF("acc: %f %f %f %d", accel_sample.x, accel_sample.y,
                accel_sample.z, accel_sample.ts);

        k_msleep(1000);
    }
}

#endif // BMA456_ENABLE_POLL_TASK == 1
```

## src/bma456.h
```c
#ifndef APPLICATION_BMA456_H_
#define APPLICATION_BMA456_H_

#include <stdbool.h>
#include <stdint.h>

#include "accel_data.h"

#define BMA456_SPIM_INSTANCE 0
#define BMA456_SS_PIN 11
#define BMA456_SCK_PIN 14
#define BMA456_MOSI_PIN 16
#define BMA456_MISO_PIN 15

#define BMA456_CONFIG_FILE_SIZE_BYTES 1200

#define BMA456_ENABLE_POLL_TASK 1

/* Init function for setting up MCU side of things and configuring sensor */
int initialize_bma456(void);

/* SPI writes and reads */
int bma456_reg_read_byte(uint8_t reg, uint8_t *data);
int bma456_reg_read_burst(uint8_t reg, uint8_t *data, uint16_t len);

int bma456_reg_write_byte(uint8_t reg, uint8_t val);
int bma456_reg_write_burst(uint8_t reg, const uint8_t *buf, uint16_t len);

/* Sensor getters */
int bma456_get_chip_id(void);

int bma456_get_int0_status(void);

int bma456_get_int1_status(void);

int bma456_get_internal_status(void);

int bma456_get_acc_conf(void);

int bma456_get_sensortime(void);

int bma456_get_temperature(void);

void bma456_get_accel_sample(struct accel_data *data);

/* Sensor setters */

void bma456_soft_reset(void);

void bma456_set_power_conf(bool adv_pwr_save);

void bma456_set_int1_config(void);

void bma456_set_accel_conf(void);

void bma456_set_accel_enable(bool enable);

void bma456_map_feature_interrupts(uint8_t int_line, uint8_t interrupts);

void bma456_map_hw_interrupts(void);

/* More elaborate sensor config functions */
void bma456_write_config_file(void);

void bma456_configure_anymotion_nomotion(void);

/* Threads */

#if BMA456_ENABLE_POLL_TASK == 1

void bma456_task(void *, void *, void *);

void bma456_poll(void *, void *, void *);

#endif // BMA456_ENABLE_POLL_TASK == 1

#endif // APPLICATION_BMA456_H_
```

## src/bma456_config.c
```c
/**
 * Copyright (c) 2023 Bosch Sensortec GmbH. All rights reserved.
 *
 * BSD-3-Clause
 *
 * Redistribution and use in source and binary forms, with or without
 * modification, are permitted provided that the following conditions are met:
 *
 * 1. Redistributions of source code must retain the above copyright
 *    notice, this list of conditions and the following disclaimer.
 *
 * 2. Redistributions in binary form must reproduce the above copyright
 *    notice, this list of conditions and the following disclaimer in the
 *    documentation and/or other materials provided with the distribution.
 *
 * 3. Neither the name of the copyright holder nor the names of its
 *    contributors may be used to endorse or promote products derived from
 *    this software without specific prior written permission.
 *
 * THIS SOFTWARE IS PROVIDED BY THE COPYRIGHT HOLDERS AND CONTRIBUTORS
 * "AS IS" AND ANY EXPRESS OR IMPLIED WARRANTIES, INCLUDING, BUT NOT
 * LIMITED TO, THE IMPLIED WARRANTIES OF MERCHANTABILITY AND FITNESS
 * FOR A PARTICULAR PURPOSE ARE DISCLAIMED. IN NO EVENT SHALL THE
 * COPYRIGHT HOLDER OR CONTRIBUTORS BE LIABLE FOR ANY DIRECT, INDIRECT,
 * INCIDENTAL, SPECIAL, EXEMPLARY, OR CONSEQUENTIAL DAMAGES
 * (INCLUDING, BUT NOT LIMITED TO, PROCUREMENT OF SUBSTITUTE GOODS OR
 * SERVICES; LOSS OF USE, DATA, OR PROFITS; OR BUSINESS INTERRUPTION)
 * HOWEVER CAUSED AND ON ANY THEORY OF LIABILITY, WHETHER IN CONTRACT,
 * STRICT LIABILITY, OR TORT (INCLUDING NEGLIGENCE OR OTHERWISE) ARISING
 * IN ANY WAY OUT OF THE USE OF THIS SOFTWARE, EVEN IF ADVISED OF THE
 * POSSIBILITY OF SUCH DAMAGE.
 *
 * @file       bma456_an.c
 * @date       2023-07-05
 * @version    V2.29.0
 *
 */

#include <stdint.h>

/* Copy-pasted from
 * https://github.com/boschsensortec/BMA456_SensorAPI/blob/3266db2c5de15be1a00232b8c0f2fd23e07934e0/bma456_an.c
 */

// data needs to be in RAM for SPIM EasyDMA transfer
const __attribute__((section(".data.sensor_configs")))
uint8_t bma456_an_config_file[] = {
    0xc8, 0x2e, 0x00, 0x2e, 0xc8, 0x2e, 0x00, 0x2e, 0xc8, 0x2e, 0x00, 0x2e,
    0xc8, 0x2e, 0x00, 0x2e, 0xc8, 0x2e, 0x00, 0x2e, 0xc8, 0x2e, 0x00, 0x2e,
    0xc8, 0x2e, 0x00, 0x2e, 0x80, 0x2e, 0x58, 0x01, 0x80, 0x2e, 0x42, 0x02,
    0xb0, 0xf0, 0x10, 0x30, 0x21, 0x2e, 0x16, 0xf0, 0x80, 0x2e, 0xf0, 0x00,
    0x1f, 0x50, 0x1d, 0x52, 0x01, 0x42, 0x3b, 0x80, 0x41, 0x30, 0x01, 0x42,
    0x3c, 0x80, 0x00, 0x2e, 0x01, 0x40, 0x01, 0x42, 0x21, 0x2e, 0xff, 0xaf,
    0xb8, 0x2e, 0x2c, 0x82, 0x80, 0x2e, 0x18, 0x00, 0x80, 0x2e, 0x18, 0x00,
    0x80, 0x2e, 0x18, 0x00, 0x80, 0x2e, 0x18, 0x00, 0x80, 0x2e, 0x18, 0x00,
    0x80, 0x2e, 0x18, 0x00, 0x80, 0x2e, 0x18, 0x00, 0xfd, 0x2d, 0x00, 0x00,
    0x00, 0x00, 0x00, 0x00, 0x00, 0x00, 0x00, 0x00, 0x01, 0x2e, 0x55, 0xf0,
    0xc0, 0x2e, 0x21, 0x2e, 0x55, 0xf0, 0x44, 0x47, 0xaa, 0x00, 0x05, 0x00,
    0xaa, 0x00, 0x05, 0x00, 0x42, 0x58, 0x88, 0x00, 0x00, 0x00, 0x00, 0x00,
    0x00, 0x00, 0x00, 0x00, 0x00, 0x00, 0x00, 0x00, 0x00, 0x00, 0x00, 0x00,
    0x00, 0x00, 0x00, 0x00, 0x00, 0x00, 0x00, 0x00, 0x00, 0x00, 0x00, 0x00,
    0x00, 0x00, 0x00, 0x00, 0x00, 0x00, 0x00, 0x00, 0x19, 0x52, 0x0b, 0x50,
    0x60, 0x42, 0x00, 0x3f, 0x0d, 0x54, 0x42, 0x42, 0x69, 0x82, 0x0f, 0x54,
    0x42, 0x42, 0x42, 0x82, 0x4b, 0x30, 0x42, 0x40, 0x10, 0x08, 0x50, 0x42,
    0x7e, 0x80, 0x4b, 0x42, 0x61, 0x30, 0x01, 0x42, 0x10, 0x50, 0x03, 0x2e,
    0x40, 0xf0, 0x56, 0xb2, 0x08, 0x80, 0x31, 0x30, 0xf0, 0x7f, 0x03, 0x2f,
    0x01, 0x2e, 0x40, 0xf0, 0x1a, 0x90, 0x21, 0x2f, 0x98, 0x2e, 0x1e, 0xb0,
    0x03, 0x30, 0x13, 0x50, 0x17, 0x52, 0x11, 0x54, 0x54, 0x33, 0x06, 0x30,
    0x55, 0x32, 0x1d, 0x1a, 0xe3, 0x22, 0x18, 0x1a, 0x15, 0x58, 0xe3, 0x22,
    0x04, 0x30, 0xd5, 0x40, 0xb5, 0x0d, 0xe1, 0xbe, 0x6f, 0xbb, 0x80, 0x91,
    0xa9, 0x0d, 0x01, 0x89, 0xb5, 0x23, 0x10, 0xa1, 0xf7, 0x2f, 0xda, 0x0e,
    0x54, 0x33, 0xeb, 0x2f, 0x01, 0x2e, 0x25, 0x00, 0x70, 0x1a, 0x00, 0x30,
    0x21, 0x30, 0x48, 0x22, 0x40, 0xb2, 0x06, 0x2f, 0x23, 0x2e, 0x59, 0xf0,
    0x98, 0x2e, 0x3a, 0x00, 0x00, 0x2e, 0x00, 0x2e, 0xd0, 0x2e, 0xf0, 0x6f,
    0x01, 0x31, 0x20, 0x26, 0x01, 0x42, 0x10, 0x30, 0x21, 0x2e, 0x59, 0xf0,
    0x98, 0x2e, 0x3a, 0x00, 0x01, 0x50, 0x03, 0x52, 0x98, 0x2e, 0x7f, 0x01,
    0x01, 0x50, 0x05, 0x84, 0x13, 0x30, 0x05, 0x50, 0x64, 0x30, 0x07, 0x52,
    0x93, 0x42, 0x84, 0x42, 0x98, 0x2e, 0x7f, 0x01, 0x05, 0x50, 0x06, 0x80,
    0x71, 0x30, 0x01, 0x42, 0x00, 0x2e, 0x00, 0x2e, 0xd0, 0x2e, 0x98, 0x2e,
    0xd6, 0x00, 0x01, 0x2e, 0x36, 0x00, 0x00, 0xb2, 0x0d, 0x2f, 0x00, 0x30,
    0x21, 0x2e, 0x36, 0x00, 0x09, 0x50, 0x98, 0x2e, 0x18, 0x01, 0x09, 0x50,
    0x01, 0x52, 0x98, 0x2e, 0x90, 0x01, 0x09, 0x50, 0x05, 0x52, 0x98, 0x2e,
    0x90, 0x01, 0x98, 0x2e, 0x3a, 0x00, 0xe6, 0x2d, 0x07, 0x2e, 0x00, 0xf0,
    0x03, 0x2e, 0x00, 0xf0, 0x21, 0x50, 0x9c, 0xbe, 0x02, 0x40, 0x1d, 0x52,
    0xf4, 0x33, 0xdc, 0xba, 0xd9, 0x0f, 0x94, 0x08, 0x06, 0x2f, 0x49, 0xaf,
    0x04, 0x2f, 0x51, 0x0a, 0x02, 0x34, 0x47, 0xa3, 0x8a, 0x0a, 0x91, 0x22,
    0x3c, 0x80, 0x25, 0x2e, 0x59, 0xf0, 0x01, 0x40, 0x01, 0x42, 0xb8, 0x2e,
    0x1a, 0x24, 0x26, 0x00, 0x80, 0x2e, 0x58, 0x00, 0x80, 0x2e, 0x18, 0x00,
    0x80, 0x2e, 0x18, 0x00, 0x80, 0x2e, 0x18, 0x00, 0x80, 0x2e, 0x18, 0x00,
    0x80, 0x2e, 0x18, 0x00, 0x80, 0x2e, 0x18, 0x00, 0x46, 0x00, 0x40, 0x00,
    0x4f, 0x00, 0x42, 0x00, 0x37, 0x00, 0xaf, 0x00, 0xff, 0x00, 0xec, 0x00,
    0xff, 0xb7, 0x00, 0x02, 0x00, 0xb0, 0x05, 0x80, 0xc9, 0xf0, 0x88, 0x00,
    0x80, 0x00, 0x5e, 0xf0, 0x59, 0xf0, 0x89, 0xf0, 0x3a, 0x00, 0x80, 0x2e,
    0x00, 0xae, 0x44, 0x47, 0xfd, 0x2d, 0x00, 0x0c, 0x60, 0x50, 0x03, 0x2e,
    0x45, 0x00, 0xe0, 0x7f, 0xf1, 0x7f, 0xdb, 0x7f, 0x30, 0x30, 0x1b, 0x54,
    0x0a, 0x1a, 0x28, 0x2f, 0x1a, 0x25, 0x7a, 0x82, 0x00, 0x30, 0x43, 0x30,
    0x32, 0x30, 0x05, 0x30, 0x04, 0x30, 0xf6, 0x6f, 0xf2, 0x09, 0xfc, 0x13,
    0xc2, 0xab, 0xb3, 0x09, 0xef, 0x23, 0x80, 0xb3, 0xe6, 0x6f, 0xb7, 0x01,
    0x00, 0x2e, 0x8b, 0x41, 0x4b, 0x42, 0x03, 0x2f, 0x46, 0x40, 0x86, 0x17,
    0x81, 0x8d, 0x46, 0x42, 0x41, 0x8b, 0x23, 0xbd, 0xb3, 0xbd, 0x03, 0x89,
    0x41, 0x82, 0x07, 0x0c, 0x43, 0xa3, 0xe6, 0x2f, 0xe1, 0x6f, 0xa2, 0x6f,
    0x52, 0x42, 0x00, 0x2e, 0xb2, 0x6f, 0x52, 0x42, 0x00, 0x2e, 0xc2, 0x6f,
    0x42, 0x42, 0x03, 0xb2, 0x03, 0x2e, 0x59, 0xf0, 0xf3, 0x3d, 0x02, 0x32,
    0x0b, 0x08, 0x8a, 0x0a, 0xdb, 0x6f, 0x02, 0x22, 0xa0, 0x5f, 0x21, 0x2e,
    0x59, 0xf0, 0xb8, 0x2e, 0x60, 0x50, 0xc3, 0x7f, 0xd4, 0x7f, 0xe7, 0x7f,
    0xf6, 0x7f, 0xb2, 0x7f, 0xa5, 0x7f, 0x36, 0x30, 0x07, 0x2e, 0x01, 0xf0,
    0xbe, 0xbd, 0xbe, 0xbb, 0x23, 0x58, 0x77, 0x05, 0x09, 0x56, 0x25, 0x54,
    0x27, 0x41, 0x06, 0x41, 0xf8, 0xbf, 0xbe, 0x0b, 0xb5, 0x11, 0xd6, 0x42,
    0x03, 0x89, 0x5a, 0x0e, 0xf6, 0x2f, 0x12, 0x30, 0x25, 0x2e, 0x36, 0x00,
    0x02, 0x31, 0x25, 0x2e, 0xb8, 0xf0, 0xd4, 0x6f, 0xc3, 0x6f, 0xe7, 0x6f,
    0xb2, 0x6f, 0xa5, 0x6f, 0xf6, 0x6f, 0xa0, 0x5f, 0xc8, 0x2e, 0x09, 0x86,
    0x02, 0x30, 0x12, 0x42, 0x43, 0x0e, 0xfc, 0x2f, 0x37, 0x80, 0x13, 0x30,
    0x13, 0x42, 0x12, 0x42, 0x12, 0x42, 0x12, 0x42, 0x02, 0x42, 0x03, 0x80,
    0x41, 0x84, 0x11, 0x42, 0x02, 0x42, 0xb8, 0x2e, 0x46, 0x84, 0x80, 0x50,
    0xa3, 0x40, 0x83, 0x88, 0x82, 0x40, 0x04, 0x41, 0xc3, 0x7f, 0x42, 0x8a,
    0x06, 0x41, 0x6d, 0xbb, 0xf6, 0x7f, 0x80, 0xb3, 0xd5, 0x7f, 0xe0, 0x7f,
    0x59, 0x2f, 0x31, 0x25, 0x55, 0x40, 0x41, 0x91, 0xb1, 0x7f, 0x0f, 0x2f,
    0x01, 0x30, 0xc1, 0x42, 0x00, 0x2e, 0xd2, 0x6f, 0x13, 0x40, 0x93, 0x42,
    0x00, 0x2e, 0x13, 0x40, 0x93, 0x42, 0x00, 0x2e, 0x00, 0x40, 0x80, 0x42,
    0xbd, 0x80, 0xc0, 0x2e, 0x01, 0x42, 0x80, 0x5f, 0xc7, 0x86, 0x01, 0x30,
    0xc5, 0x40, 0xfb, 0x86, 0x45, 0x41, 0x04, 0x41, 0x43, 0xbe, 0xd5, 0xbe,
    0x43, 0xba, 0xd5, 0xba, 0x84, 0x7f, 0x95, 0x7f, 0xa1, 0x7f, 0x14, 0x30,
    0x61, 0x15, 0xf5, 0x09, 0x15, 0x40, 0xc0, 0xb3, 0x0b, 0x2f, 0xc6, 0x40,
    0xae, 0x05, 0x07, 0x30, 0xfe, 0x05, 0x80, 0xa9, 0xb7, 0x23, 0x97, 0x6f,
    0x77, 0x0f, 0xa6, 0x6f, 0xe6, 0x23, 0xf6, 0x6f, 0xa7, 0x7f, 0x80, 0x90,
    0x00, 0x2f, 0xc5, 0x42, 0x41, 0x82, 0xc1, 0x86, 0x43, 0xa2, 0xe7, 0x2f,
    0xa1, 0x6f, 0xb0, 0x6f, 0x0a, 0x1a, 0x02, 0x2f, 0x01, 0x30, 0x1b, 0x2c,
    0x01, 0x42, 0x01, 0x40, 0x4c, 0x28, 0x82, 0x6f, 0x01, 0x42, 0x4a, 0x0e,
    0x13, 0x2f, 0xc0, 0x6f, 0x00, 0xb2, 0x03, 0x2f, 0x3f, 0x80, 0x20, 0x14,
    0x21, 0x2e, 0x5e, 0xf0, 0xe1, 0x6f, 0xd0, 0x6f, 0x52, 0x40, 0x12, 0x42,
    0x00, 0x2e, 0x52, 0x40, 0x12, 0x42, 0x00, 0x2e, 0x41, 0x40, 0x03, 0x2c,
    0x01, 0x42, 0x10, 0x30, 0x40, 0x42, 0x80, 0x5f, 0xb8, 0x2e, 0x80, 0x2e,
    0x18, 0x00, 0xfd, 0x2d, 0x30, 0x50, 0x2a, 0x25, 0xbd, 0x84, 0xfb, 0x7f,
    0x8b, 0x31, 0x27, 0x56, 0x83, 0x42, 0xeb, 0x7f, 0x06, 0x30, 0x14, 0x30,
    0x05, 0x30, 0x0d, 0x2c, 0x13, 0x56, 0x43, 0x1a, 0x02, 0x2f, 0x4e, 0x04,
    0x06, 0x30, 0x15, 0x50, 0xec, 0x09, 0xd7, 0x01, 0x41, 0x8b, 0xcb, 0x41,
    0xc6, 0x01, 0x81, 0x8d, 0xcb, 0x43, 0x31, 0x0e, 0xf1, 0x2f, 0xfb, 0x6f,
    0xd0, 0x5f, 0xb8, 0x2e, 0x10, 0x50, 0x01, 0x2e, 0x35, 0x00, 0x00, 0xb2,
    0xfb, 0x7f, 0x19, 0x2f, 0x29, 0x56, 0x2f, 0x52, 0x13, 0x54, 0xc3, 0x00,
    0x48, 0x04, 0xc2, 0x0f, 0x18, 0x22, 0x41, 0xb2, 0x0e, 0x2f, 0x12, 0x30,
    0x8a, 0x08, 0x80, 0xb2, 0x06, 0x2f, 0x7f, 0x82, 0x98, 0x2e, 0x00, 0xb0,
    0x2d, 0x52, 0x23, 0x2e, 0xff, 0xb9, 0x06, 0x2d, 0xfb, 0x6f, 0xf0, 0x5f,
    0x80, 0x2e, 0x00, 0xb0, 0x2b, 0x52, 0x01, 0x42, 0x00, 0x2e, 0xfb, 0x6f,
    0xf0, 0x5f, 0xb8, 0x2e, 0x10, 0x24, 0x58, 0x02, 0x11, 0x24, 0x00, 0x0c,
    0x12, 0x24, 0x80, 0x2e, 0x13, 0x24, 0x18, 0x00, 0x12, 0x42, 0x13, 0x42,
    0x41, 0x1a, 0xfb, 0x2f, 0x10, 0x24, 0x50, 0x39, 0x11, 0x24, 0x21, 0x2e,
    0x21, 0x2e, 0x10, 0x00, 0x23, 0x2e, 0x11, 0x00, 0x80, 0x2e, 0x10, 0x00};
```
